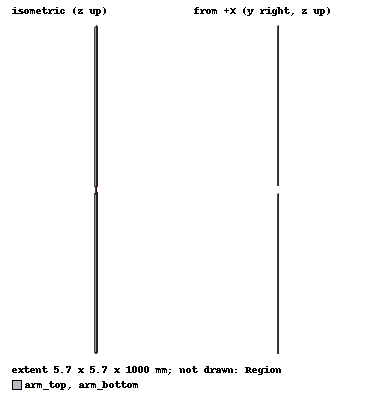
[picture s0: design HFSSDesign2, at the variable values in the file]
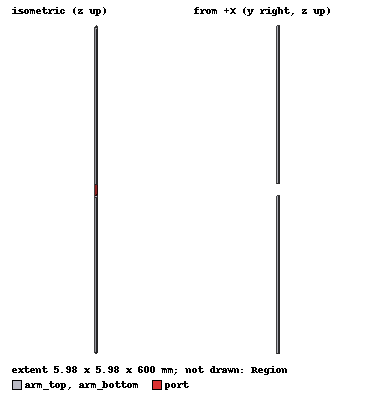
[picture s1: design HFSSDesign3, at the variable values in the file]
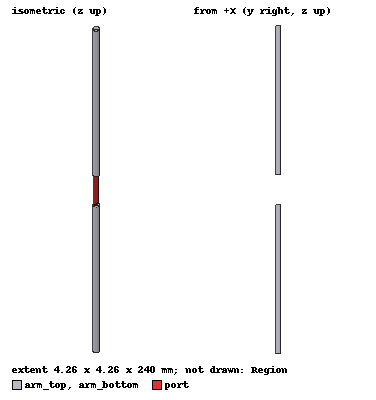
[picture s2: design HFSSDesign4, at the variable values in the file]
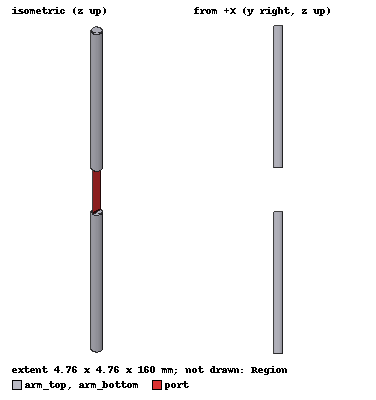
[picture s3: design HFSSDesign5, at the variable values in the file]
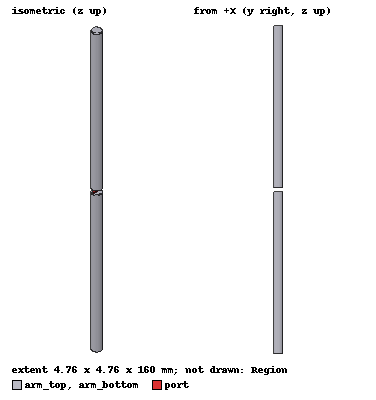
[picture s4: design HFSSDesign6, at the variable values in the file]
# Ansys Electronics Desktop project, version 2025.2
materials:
  vacuum: permittivity=1
  pec: conductivity=1e+30

design HFSSDesign2 (HFSS, HFSS Modal Network, model units mm)
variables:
  g = 21.83mm
  r_pad = 2mm
  r_arm = 2.85mm
  L = 489.1mm
  pad = 750mm
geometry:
  arm_top [pec] = cylinder(axis=Z, base_centre=(0mm, 0mm, g/2), radius=r_arm, height=L)
  arm_bottom [pec] = cylinder(axis=Z, base_centre=(0mm, 0mm, -g/2-L), radius=r_arm, height=L)
  port = rectangle(corner=(-r_arm, 0mm, -g/2), z_size=g, x_size=2*r_arm)
  Region [vacuum] = region(absolute_offset=pad on all sides)
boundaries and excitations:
  Rad1: Radiation Objects=Region
  1: Lumped Port Objects=port LumpedPortType=Modal Modes{Mode1{IntLine{(0, 0, -10.915) -> (0, 0, 10.915)} CharImp=Zpi}} Impedance=50ohm
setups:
  Setup1: HfssDriven Frequency=190MHz MaxDeltaS=0.01 MaximumPasses=25 MinimumPasses=1 MinimumConvergedPasses=1 PercentRefinement=30 BasisOrder=1 PortAccuracy=2 DrivenSolverType="Direct Solver"
    sweep Sweep1: 100MHz to 190MHz step 0.1MHz; Type=Interpolating InterpTolerance=0.5 InterpMaxSolns=250 InterpUsePortImped=false PassivityErrorTolerance=0.0001
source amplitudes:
  1:1: 1W 0deg
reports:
  S Parameter Plot1: dB(S(1,1)) vs Freq on Setup1 : Sweep1; markers m1 at 0.174GHz

design HFSSDesign3 (HFSS, HFSS Modal Network, model units mm)
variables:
  g = 21.83mm
  r_pad = 2.5mm
  r_arm = 2.99mm
  L = 289.1mm
  pad = 470mm
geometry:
  arm_top [pec] = cylinder(axis=Z, base_centre=(0mm, 0mm, g/2), radius=r_arm, height=L)
  arm_bottom [pec] = cylinder(axis=Z, base_centre=(0mm, 0mm, -g/2-L), radius=r_arm, height=L)
  port = rectangle(corner=(-r_arm, 0mm, -g/2), z_size=g, x_size=2*r_arm)
  Region [vacuum] = region(absolute_offset=pad on all sides)
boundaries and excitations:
  Rad1: Radiation Objects=Region
  1: Lumped Port Objects=port LumpedPortType=Modal Modes{Mode1{IntLine{(0, 0, -10.915) -> (0, 0, 10.915)} CharImp=Zpi}} Impedance=50ohm
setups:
  Setup1: HfssDriven Frequency=325MHz MaxDeltaS=0.01 MaximumPasses=25 MinimumPasses=1 MinimumConvergedPasses=1 PercentRefinement=30 BasisOrder=1 PortAccuracy=2 DrivenSolverType="Direct Solver"
    sweep Sweep1: 175MHz to 325MHz step 0.1MHz; Type=Interpolating InterpTolerance=0.5 InterpMaxSolns=250 InterpUsePortImped=false PassivityErrorTolerance=0.0001
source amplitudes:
  1:1: 1W 0deg
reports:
  S Parameter Plot1: dB(S(1,1)) vs Freq on Setup1 : Sweep1; markers m1 at 0.2294GHz

design HFSSDesign4 (HFSS, HFSS Modal Network, model units mm)
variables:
  g = 21.83mm
  r_pad = 2.13mm
  r_arm = 2.13mm
  L = 109.1mm
  pad = 190mm
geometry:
  arm_top [pec] = cylinder(axis=Z, base_centre=(0mm, 0mm, g/2), radius=r_arm, height=L)
  arm_bottom [pec] = cylinder(axis=Z, base_centre=(0mm, 0mm, -g/2-L), radius=r_arm, height=L)
  port = rectangle(corner=(-r_arm, 0mm, -g/2), z_size=g, x_size=2*r_arm)
  Region [vacuum] = region(absolute_offset=pad on all sides)
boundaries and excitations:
  Rad1: Radiation Objects=Region
  1: Lumped Port Objects=port LumpedPortType=Modal Modes{Mode1{IntLine{(0, 0, -10.915) -> (0, 0, 10.915)} CharImp=Zpi}} Impedance=50ohm
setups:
  Setup1: HfssDriven Frequency=805MHz MaxDeltaS=0.01 MaximumPasses=25 MinimumPasses=1 MinimumConvergedPasses=1 PercentRefinement=30 BasisOrder=1 PortAccuracy=2 DrivenSolverType="Direct Solver"
    sweep Sweep1: 435MHz to 805MHz step 0.1MHz; Type=Interpolating InterpTolerance=0.5 InterpMaxSolns=250 InterpUsePortImped=false PassivityErrorTolerance=0.0001
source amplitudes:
  1:1: 1W 0deg
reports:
  S Parameter Plot1: dB(S(1,1)) vs Freq on Setup1 : Sweep1; markers m1 at 0.2316GHz

design HFSSDesign5 (HFSS, HFSS Modal Network, model units mm)
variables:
  g = 21.83mm
  r_pad = 2.38mm
  r_arm = 2.38mm
  L = 69.1mm
  pad = 125mm
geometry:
  arm_top [pec] = cylinder(axis=Z, base_centre=(0mm, 0mm, g/2), radius=r_arm, height=L)
  arm_bottom [pec] = cylinder(axis=Z, base_centre=(0mm, 0mm, -g/2-L), radius=r_arm, height=L)
  port = rectangle(corner=(-r_arm, 0mm, -g/2), z_size=g, x_size=2*r_arm)
  Region [vacuum] = region(absolute_offset=pad on all sides)
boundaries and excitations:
  Rad1: Radiation Objects=Region
  1: Lumped Port Objects=port LumpedPortType=Modal Modes{Mode1{IntLine{(0, 0, -10.915) -> (0, 0, 10.915)} CharImp=Zpi}} Impedance=50ohm
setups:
  Setup1: HfssDriven Frequency=1370MHz MaxDeltaS=0.01 MaximumPasses=25 MinimumPasses=1 MinimumConvergedPasses=1 PercentRefinement=30 BasisOrder=1 PortAccuracy=2 DrivenSolverType="Direct Solver"
    sweep Sweep1: 740MHz to 1370MHz step 0.1MHz; Type=Interpolating InterpTolerance=0.5 InterpMaxSolns=250 InterpUsePortImped=false PassivityErrorTolerance=0.0001
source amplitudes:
  1:1: 1W 0deg
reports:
  S Parameter Plot1: dB(S(1,1)) vs Freq on Setup1 : Sweep1; markers m1 at 0.8121GHz

design HFSSDesign6 (HFSS, HFSS Modal Network, model units mm)
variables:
  g = 2mm
  r_pad = 2.38mm
  r_arm = 2.38mm
  L = 79mm
  pad = 125mm
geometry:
  arm_top [pec] = cylinder(axis=Z, base_centre=(0mm, 0mm, g/2), radius=r_arm, height=L)
  arm_bottom [pec] = cylinder(axis=Z, base_centre=(0mm, 0mm, -g/2-L), radius=r_arm, height=L)
  port = rectangle(corner=(-r_arm, 0mm, -g/2), z_size=g, x_size=2*r_arm)
  Region [vacuum] = region(absolute_offset=pad on all sides)
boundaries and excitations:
  Rad1: Radiation Objects=Region
  1: Lumped Port Objects=port LumpedPortType=Modal Modes{Mode1{IntLine{(0, 0, -1) -> (0, 0, 1)} CharImp=Zpi}} Impedance=50ohm
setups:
  Setup1: HfssDriven Frequency=1370MHz MaxDeltaS=0.01 MaximumPasses=25 MinimumPasses=1 MinimumConvergedPasses=1 PercentRefinement=30 BasisOrder=1 PortAccuracy=2 DrivenSolverType="Direct Solver"
    sweep Sweep1: 740MHz to 1370MHz step 0.1MHz; Type=Interpolating InterpTolerance=0.5 InterpMaxSolns=250 InterpUsePortImped=false PassivityErrorTolerance=0.0001
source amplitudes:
  1:1: 1W 0deg
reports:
  S Parameter Plot1: dB(S(1,1)) vs Freq on Setup1 : Sweep1; markers m1 at 0.8121GHz
